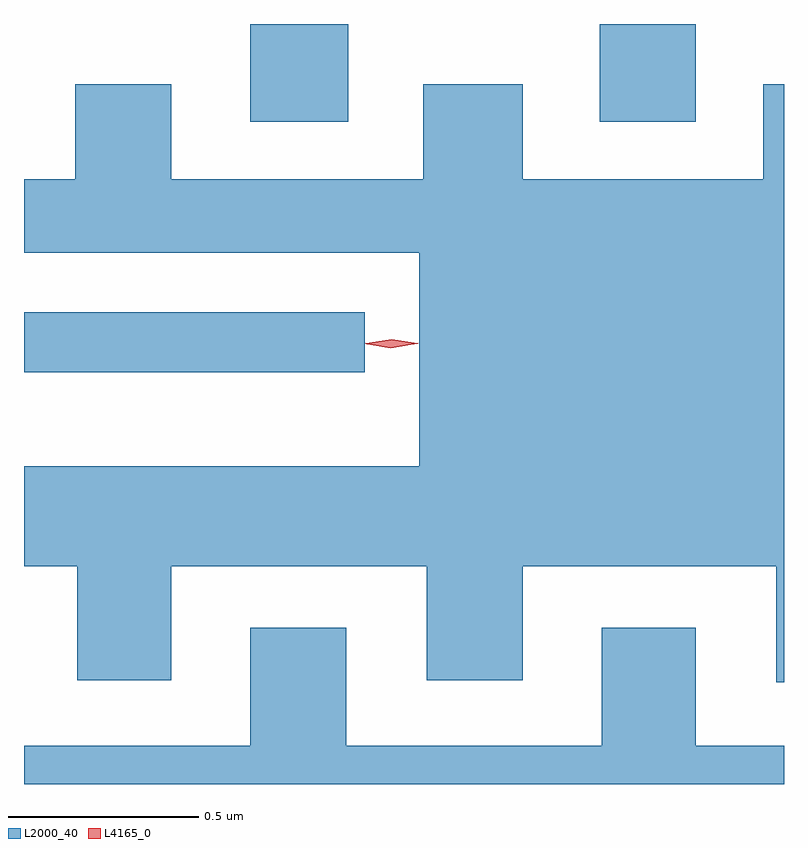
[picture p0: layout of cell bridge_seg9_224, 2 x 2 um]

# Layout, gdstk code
import gdstk
lib = gdstk.Library(unit=1e-6, precision=1e-09)
def R(c, l, rs):  # rectangles x0, y0, x1, y1
    for r in rs: c.add(gdstk.rectangle(r[:2], r[2:], *l))
def P(c, l, *ps):  # polygons
    for p in ps: c.add(gdstk.Polygon(p, *l))
L2000_40 = (2000, 40)
L4165_0 = (4165, 0)

bridge_seg9_224 = lib.new_cell('bridge_seg9_224')
R(bridge_seg9_224, L2000_40, [(1268.241,1968.646,1269.138,1968.804), (1268.836,1969.306,1269.094,1969.563), (1269.756,1969.306,1270.009,1969.563)])
P(bridge_seg9_224, L2000_40, [(1270.241,1969.404),(1270.186,1969.404),(1270.186,1969.154),(1269.554,1969.154),(1269.554,1969.404),(1269.291,1969.404),(1269.291,1969.154),(1268.629,1969.154),(1268.629,1969.404),(1268.376,1969.404),(1268.376,1969.154),(1268.241,1969.154),(1268.241,1968.961),(1269.281,1968.961),(1269.281,1968.399),(1268.241,1968.399),(1268.241,1968.136),(1268.381,1968.136),(1268.381,1967.836),(1268.629,1967.836),(1268.629,1968.136),(1269.301,1968.136),(1269.301,1967.836),(1269.554,1967.836),(1269.554,1968.136),(1270.221,1968.136),(1270.221,1967.831),(1270.241,1967.831)],
  [(1270.241,1967.664),(1270.009,1967.664),(1270.009,1967.974),(1269.761,1967.974),(1269.761,1967.664),(1269.089,1967.664),(1269.089,1967.974),(1268.836,1967.974),(1268.836,1967.664),(1268.241,1967.664),(1268.241,1967.563),(1270.241,1967.563)])
P(bridge_seg9_224, L4165_0, [(1269.206,1968.71),(1269.144,1968.72),(1269.143,1968.72),(1269.144,1968.721),(1269.206,1968.73),(1269.267,1968.721),(1269.268,1968.72),(1269.267,1968.72)],
  [(1269.209,1968.713),(1269.14,1968.722),(1269.139,1968.723),(1269.14,1968.723),(1269.209,1968.733),(1269.277,1968.723),(1269.278,1968.723),(1269.277,1968.722)])

lib.write_gds('bridge_seg9_224.gds')
